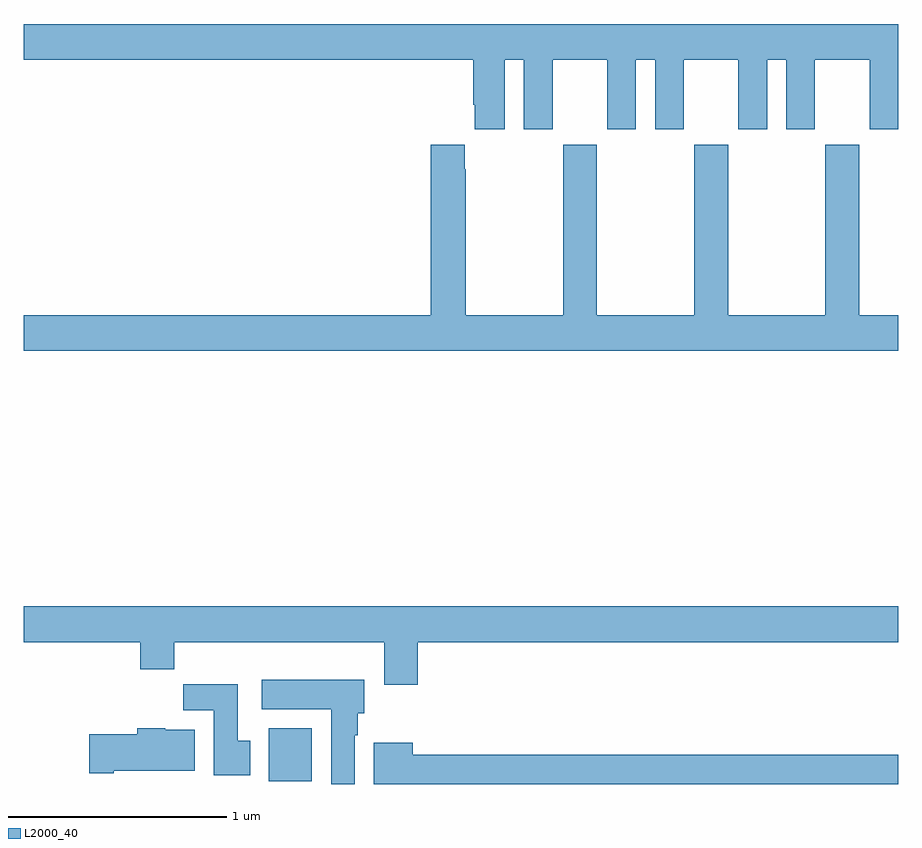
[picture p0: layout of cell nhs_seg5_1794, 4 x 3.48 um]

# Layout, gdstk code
import gdstk
lib = gdstk.Library(unit=1e-6, precision=1e-09)
def R(c, l, rs):  # rectangles x0, y0, x1, y1
    for r in rs: c.add(gdstk.rectangle(r[:2], r[2:], *l))
def P(c, l, *ps):  # polygons
    for p in ps: c.add(gdstk.Polygon(p, *l))
L2000_40 = (2000, 40)

nhs_seg5_1794 = lib.new_cell('nhs_seg5_1794')
R(nhs_seg5_1794, L2000_40, [(220.121,834.812,220.318,835.054)])
P(nhs_seg5_1794, L2000_40, [(221.2,838.112),(221.288,838.112),(221.288,837.795),(221.419,837.795),(221.419,838.112),(221.669,838.112),(221.669,837.795),(221.8,837.795),(221.8,838.112),(221.888,838.112),(221.888,837.795),(222.019,837.795),(222.019,838.112),(222.269,838.112),(222.269,837.795),(222.4,837.795),(222.4,838.112),(222.488,838.112),(222.488,837.795),(222.619,837.795),(222.619,838.112),(222.869,838.112),(222.869,837.795),(223,837.795),(223,838.276),(219,838.276),(219,838.112),(221.057,838.112),(221.057,837.907),(221.063,837.907),(221.063,837.795),(221.2,837.795)],
  [(223,836.944),(222.822,836.944),(222.822,837.724),(222.667,837.724),(222.667,836.944),(222.222,836.944),(222.222,837.724),(222.067,837.724),(222.067,836.944),(221.622,836.944),(221.622,837.724),(221.467,837.724),(221.467,836.944),(221.022,836.944),(221.022,837.611),(221.017,837.611),(221.017,837.724),(220.862,837.724),(220.862,836.944),(219,836.944),(219,836.78),(223,836.78)],
  [(220.802,835.448),(223,835.448),(223,835.612),(219,835.612),(219,835.448),(219.533,835.448),(219.533,835.324),(219.689,835.324),(219.689,835.448),(220.649,835.448),(220.649,835.254),(220.802,835.254)],
  [(220.513,835.022),(220.528,835.022),(220.528,835.122),(220.558,835.122),(220.558,835.276),(220.089,835.276),(220.089,835.142),(220.406,835.142),(220.406,834.799),(220.513,834.799)],
  [(220.036,834.996),(219.979,834.996),(219.979,835.255),(219.73,835.255),(219.73,835.136),(219.869,835.136),(219.869,834.84),(220.036,834.84)],
  [(219.412,834.86),(219.781,834.86),(219.781,835.048),(219.648,835.048),(219.648,835.054),(219.518,835.054),(219.518,835.026),(219.3,835.026),(219.3,834.848),(219.412,834.848)],
  [(223,834.932),(220.78,834.932),(220.78,834.988),(220.601,834.988),(220.601,834.799),(223,834.799)])

lib.write_gds('nhs_seg5_1794.gds')
